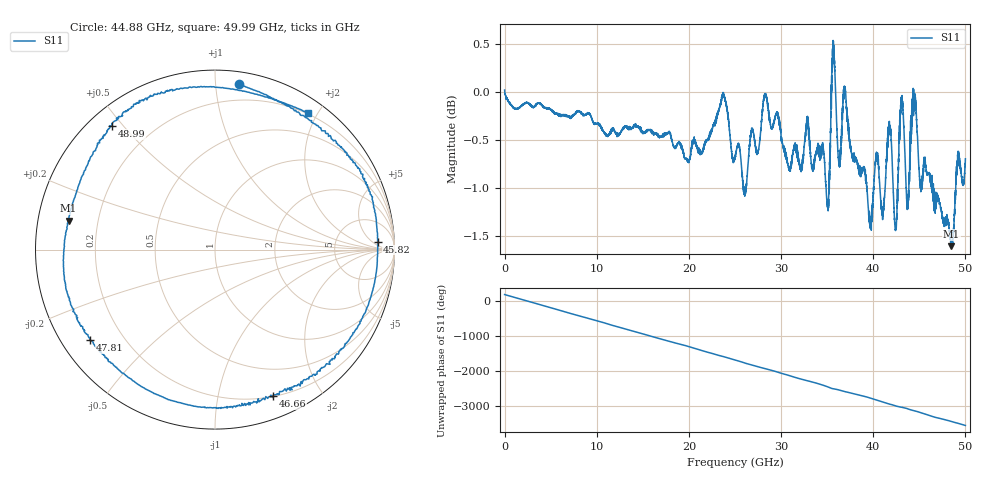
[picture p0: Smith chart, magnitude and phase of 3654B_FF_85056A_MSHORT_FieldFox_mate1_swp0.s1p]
!Created with skrf (http://scikit-rf.org).
# Hz S RI R 50.0
!freq ReS11 ImS11
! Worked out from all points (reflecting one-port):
!   10000 points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, 5.3 MHz to 50 GHz, reference 50 ohm
!   lowest |S11| = -1.6 dB at 48.48 GHz (marker M1), VSWR 10.88, Z = 4.64 + j4.84 ohm
!   phase of S11 starts at 180 deg and turns -3725 deg over the sweep
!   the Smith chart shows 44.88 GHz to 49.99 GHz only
!   S11 on the Smith chart (normalised r, x): 44.88 GHz: 0.08, +1.15; 45.82 GHz: 16, +8; 46.66 GHz: 0.20, -1.46; 47.81 GHz: 0.08, -0.32; 48.99 GHz: 0.07, +0.47; 49.99 GHz: 0.19, +1.87
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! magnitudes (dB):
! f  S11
! 5.3 MHz  0.0
! 6.255 GHz  -0.2
! 12.51 GHz  -0.4
! 18.76 GHz  -0.5
! 23.74 GHz  0.0
! 25.01 GHz  -0.7
! 26.1 GHz  -1.0
! 28.31 GHz  0.0
! 31.26 GHz  -0.6
! 35.05 GHz  -1.2
! 35.7 GHz  0.5
! 36.27 GHz  -0.7
! 36.91 GHz  0.1
! 37.51 GHz  -0.6
! 39.7 GHz  -1.3
! 41.78 GHz  -0.3
! 42.41 GHz  -1.4
! 43.12 GHz  -0.1
! 43.76 GHz  -1.2
! 44.38 GHz  -0.1
! 44.88 GHz  -0.6
! 45.82 GHz  -0.9
! 46.66 GHz  -1.1
! 47.81 GHz  -1.3
! 48.48 GHz  -1.6
! 48.99 GHz  -0.9
! 49.99 GHz  -0.7
! 50 GHz  -0.7
